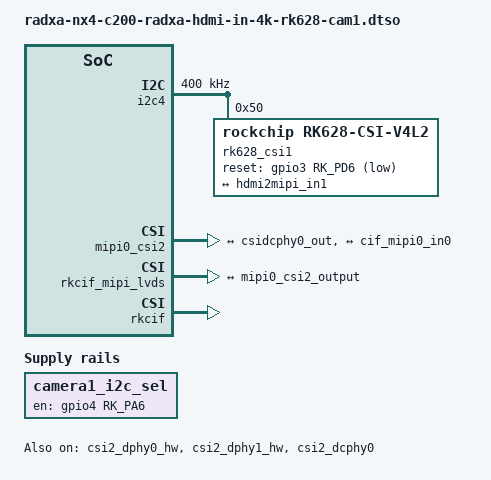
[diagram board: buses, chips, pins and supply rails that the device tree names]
/dts-v1/;
/plugin/;

#include <dt-bindings/gpio/gpio.h>
#include <dt-bindings/pinctrl/rockchip.h>
#include <dt-bindings/power/rockchip,rk3576-power.h>

/ {
	metadata {
		title = "Enable Radxa HDMI IN to MIPI CSI-2 Adapter on CAM1 (4-lane)";
		compatible = "radxa,nx4-c200";
		category = "camera";
		exclusive = "GPIO3_D6", "GPIO4_A6", "csi2_dcphy0", "i2c4";
		description = "Enable Radxa 4K HDMI IN to MIPI CSI-2 Adapter on the CAM1 4-lane CSI connector.
To capture audio, also enable the 'SAI2-M0 capture-only dummy sound card' overlay.
";
	};

	camera1_i2c_sel: camera1-i2c-sel {
		compatible = "regulator-fixed";
		regulator-name = "camera1_i2c_sel";
		regulator-always-on;
		regulator-boot-on;
		enable-active-high;
		gpio = <&gpio4 RK_PA6 GPIO_ACTIVE_HIGH>;
		pinctrl-names = "default";
		pinctrl-0 = <&cam1_i2c_sel_gpio>;
	};
};

&i2c4 {
	status = "okay";
	pinctrl-names = "default";
	pinctrl-0 = <&i2c4m2_xfer>;
	clock-frequency = <400000>;
	#address-cells = <1>;
	#size-cells = <0>;

	rk628_csi1: rk628-csi@50 {
		compatible = "rockchip,rk628-csi-v4l2";
		reg = <0x50>;
		power-domains = <&power RK3576_PD_VI>;
		pinctrl-names = "default";
		pinctrl-0 = <&rk628_cam1_reset>;
		/* INT and DET are not routed; the driver uses I2C polling. */
		reset-gpios = <&gpio3 RK_PD6 GPIO_ACTIVE_LOW>;
		continues-clk = <1>;
		rockchip,camera-module-index = <1>;
		rockchip,camera-module-facing = "back";
		rockchip,camera-module-name = "HDMI-MIPI1";
		rockchip,camera-module-lens-name = "RK628-CSI";

		port {
			hdmiin_out1: endpoint {
				remote-endpoint = <&hdmi2mipi_in1>;
				data-lanes = <1 2 3 4>;
			};
		};
	};
};

&csi2_dphy0_hw {
	status = "okay";
};

&csi2_dphy1_hw {
	status = "okay";
};

&csi2_dcphy0 {
	status = "okay";

	ports {
		#address-cells = <1>;
		#size-cells = <0>;

		port@0 {
			reg = <0>;
			#address-cells = <1>;
			#size-cells = <0>;

			hdmi2mipi_in1: endpoint@1 {
				reg = <1>;
				remote-endpoint = <&hdmiin_out1>;
				data-lanes = <1 2 3 4>;
			};
		};

		port@1 {
			reg = <1>;
			#address-cells = <1>;
			#size-cells = <0>;

			csidcphy0_out: endpoint@0 {
				reg = <0>;
				remote-endpoint = <&mipi0_csi2_input>;
			};
		};
	};
};

&mipi0_csi2 {
	status = "okay";

	ports {
		#address-cells = <1>;
		#size-cells = <0>;

		port@0 {
			reg = <0>;
			#address-cells = <1>;
			#size-cells = <0>;

			mipi0_csi2_input: endpoint@1 {
				reg = <1>;
				remote-endpoint = <&csidcphy0_out>;
			};
		};

		port@1 {
			reg = <1>;
			#address-cells = <1>;
			#size-cells = <0>;

			mipi0_csi2_output: endpoint@0 {
				reg = <0>;
				remote-endpoint = <&cif_mipi0_in0>;
			};
		};
	};
};

&rkcif_mipi_lvds {
	status = "okay";

	port {
		cif_mipi0_in0: endpoint {
			remote-endpoint = <&mipi0_csi2_output>;
		};
	};
};

&rkcif {
	status = "okay";
};

&rkcif_mmu {
	status = "okay";
};

&pinctrl {
	camera {
		rk628_cam1_reset: rk628-cam1-reset {
			rockchip,pins = <3 RK_PD6 RK_FUNC_GPIO &pcfg_pull_none>;
		};

		cam1_i2c_sel_gpio: cam1-i2c-sel-gpio {
			rockchip,pins = <4 RK_PA6 RK_FUNC_GPIO &pcfg_pull_up>;
		};
	};
};
